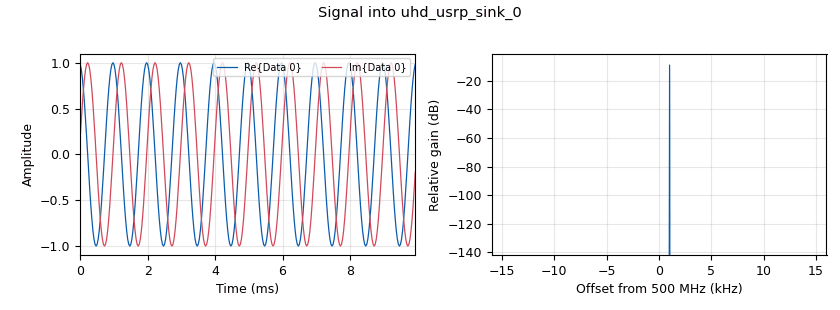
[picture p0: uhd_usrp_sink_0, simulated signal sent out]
<?xml version='1.0' encoding='utf-8'?>
<flow_graph>
<block>
<key>variable</key>
<param><key>id</key><value>samp_rate</value></param>
<param><key>value</key><value>32000</value></param>
</block>
<block>
<key>gr_sig_source_x</key>
<param><key>id</key><value>gr_sig_source_x_0</value></param>
<param><key>type</key><value>complex</value></param>
<param><key>samp_rate</key><value>samp_rate</value></param>
<param><key>waveform</key><value>gr.GR_COS_WAVE</value></param>
<param><key>freq</key><value>1000</value></param>
<param><key>amp</key><value>1</value></param>
<param><key>offset</key><value>0</value></param>
</block>
<block>
<key>options</key>
<param><key>id</key><value>cheetara_tx</value></param>
<param><key>generate_options</key><value>no_gui</value></param>
<param><key>category</key><value>Custom</value></param>
</block>
<block>
<key>uhd_usrp_sink</key>
<param><key>id</key><value>uhd_usrp_sink_0</value></param>
<param><key>type</key><value>fc32</value></param>
<param><key>stream_args</key><value>serial=E8R10Z2B1</value></param>
<param><key>dev_addr</key><value></value></param>
<param><key>sync</key><value></value></param>
<param><key>clock_rate</key><value>0.0</value></param>
<param><key>samp_rate</key><value>samp_rate</value></param>
<param><key>center_freq0</key><value>500e6</value></param>
<param><key>gain0</key><value>5</value></param>
<param><key>ant0</key><value></value></param>
<param><key>bw0</key><value>100e3</value></param>
</block>
<connection><source_block_id>gr_sig_source_x_0</source_block_id><sink_block_id>uhd_usrp_sink_0</sink_block_id><source_key>0</source_key><sink_key>0</sink_key></connection>
</flow_graph>
